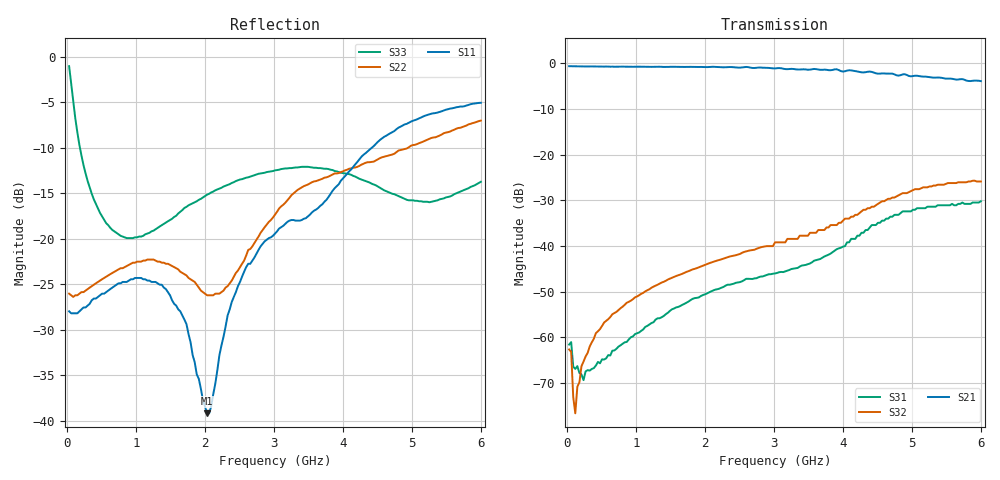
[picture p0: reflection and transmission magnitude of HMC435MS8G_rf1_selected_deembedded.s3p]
!Hittite Microwave Corporation
!12 Elizabeth Drive
!Chelmsford, MA 01824
!Tel: 978-250-3343
!Fax: 978-250-3373
!Device: HMC435MS8G, DC-4 GHz, GaAs MESFET SPDT switch in 8-lead Grounded Base surface Mount Plastic Package
!Misc: Vctl=0/+5V, Port1 = RFC, Port 2 = RF1, Port 3 = RF2, RF1 selected
# MHZ S MA R 50
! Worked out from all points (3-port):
!   201 points, 30 MHz to 6 GHz, reference 50 ohm
!   strongest paths, dB at 30 MHz, 1.522 GHz, 3.015 GHz, 4.508 GHz, 6 GHz:
!     S21: -0.6, -0.7, -1.1, -2.2, -3.9
!     S32: -62.6, -46.9, -39.2, -30.8, -25.8
!     S31: -61.6, -53.8, -46.0, -34.9, -30.2
!   lowest |S11| = -39.2 dB at 2.03 GHz (marker M1), VSWR 1.02, Z = 49 - j0.366 ohm
!   |S11| at or under -10 dB: start of sweep to 4.415 GHz
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30  0.04 1.6  0.932 -0.7  0.0008037 61.8
    0.933 -0.7  0.05 -0.0  0.0007865 58.6
    0.000836 56.7  0.0007396 59.8  0.89 -24.8
59.85  0.039 -5.7  0.931 -0.6  0.000883 -51.8
       0.931 -0.7  0.049 -4.4  0.0007403 -52.3
       0.0008889 -51.9  0.0006947 -49.4  0.713 -41.7
119.55  0.039 -7.7  0.93 -0.7  0.0004987 -43.2
        0.93 -0.7  0.049 -4.2  0.000132 -0.1
        0.0004527 -48.7  0.0001478 -10.4  0.46 -57.9
209.1  0.041 -13.3  0.926 -0.9  0.0004345 -48.3
       0.927 -0.9  0.051 -6.5  0.0004825 79.8
       0.0003925 -43.1  0.0004845 79.8  0.287 -65.2
537.45  0.05 -33.9  0.926 -1.3  0.000572 -78.4
        0.923 -1.4  0.061 -16.0  0.001458 98.9
        0.0005732 -82.1  0.001458 99.8  0.127 -57.0
1432.95  0.053 -71.0  0.913 -2.7  0.001804 -123.6
         0.915 -2.6  0.073 -21.8  0.004172 127.6
         0.001801 -122.6  0.00418 128.6  0.123 0.9
2029.95  0.011 -160.1  0.917 -4.0  0.003078 -133.0
         0.911 -4.2  0.049 13.0  0.006343 143.9
         0.003033 -131.8  0.006368 143.5  0.175 24.9
2388.15  0.045 112.2  0.909 -5.2  0.003835 -135.4
         0.912 -5.6  0.059 60.5  0.007744 152.3
         0.003825 -135.7  0.007784 152.0  0.203 36.0
3015  0.107 102.5  0.885 -8.0  0.005078 -131.7
      0.882 -7.8  0.136 95.0  0.011 166.8
      0.005024 -130.4  0.011 168.2  0.238 50.8
6000  0.56 91.1  0.643 -21.3  0.03 -130.7
      0.64 -21.2  0.447 87.0  0.051 -165.9
      0.031 -130.8  0.051 -165.7  0.206 17.0
